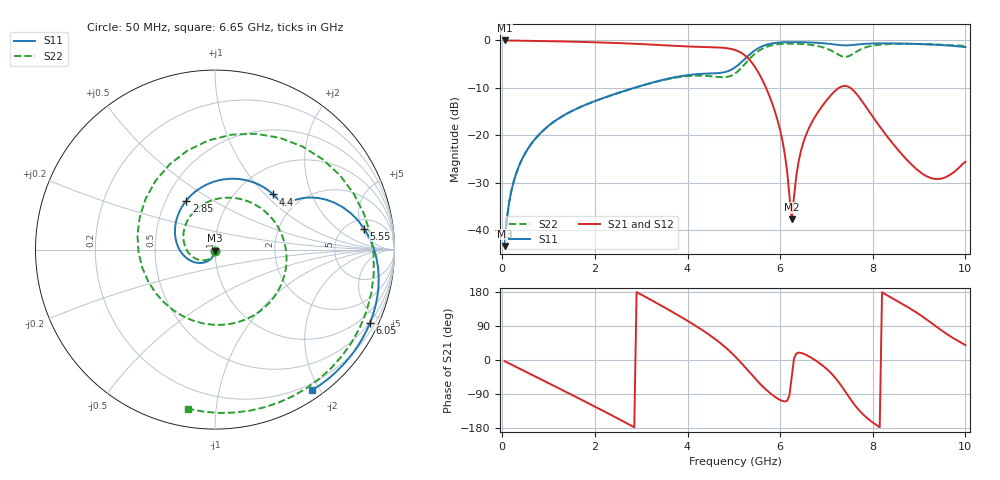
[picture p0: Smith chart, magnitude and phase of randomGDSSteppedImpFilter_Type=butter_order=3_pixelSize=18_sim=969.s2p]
! freq	dB(S11)	phase(S11)	dB(S12)	phase(S12)
!  dB(S21)	phase(S21)	dB(S22)	phase(S22)
!S-par simulation data
#  GHz  S  DB  R 50
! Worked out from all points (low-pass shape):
!   200 points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, 50 MHz to 10 GHz, reference 50 ohm
!   highest |S21| = -0.01 dB at 50 MHz (marker M1); lowest = -37.7 dB at 6.25 GHz (marker M2)
!   |S21| within 3 dB of the highest: start of sweep to 5.219 GHz
!   lowest |S11| = -43.3 dB at 50 MHz (marker M3), VSWR 1.01, Z = 50 - j0.683 ohm
!   |S11| at or under -10 dB: start of sweep to 2.846 GHz
!   |S22| runs from -43.3 to -0.7 dB; largest |S21 - S12| = 0
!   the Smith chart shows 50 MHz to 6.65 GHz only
!   S11 on the Smith chart (normalised r, x): 50 MHz: 1.00, -0.01; 2.85 GHz: 0.63, +0.39; 4.4 GHz: 1.45, +1.11; 5.55 GHz: 6.98, +5.55; 6.05 GHz: 0.47, -4.41; 6.65 GHz: 0.11, -1.89
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0.05  -43.31 -89.3  -0.01 -3.1  -0.01 -3.1  -43.35 -89.8
0.2  -31.50 -100.2  -0.02 -12.3  -0.02 -12.3  -31.51 -102.9
0.5  -23.67 -117.4  -0.06 -30.6  -0.06 -30.6  -23.69 -124.3
1.75  -13.76 176.4  -0.32 -107.4  -0.32 -107.4  -13.76 147.0
2.85  -9.99 120.3  -0.70 -177.5  -0.70 -177.5  -10.01 63.0
3.4  -8.47 91.6  -0.97 145.7  -0.97 145.7  -8.54 18.7
4.4  -7.00 43.5  -1.40 72.3  -1.40 72.3  -7.48 -78.5
5.05  -5.51 31.7  -2.10 6.6  -2.10 6.6  -6.81 156.7
5.3  -3.33 24.0  -3.69 -27.0  -3.69 -27.0  -4.30 93.4
5.55  -1.52 8.0  -7.10 -60.9  -7.10 -60.9  -2.12 39.9
6.05  -0.40 -25.3  -21.18 -108.2  -21.18 -108.2  -0.72 -34.2
6.25  -0.35 -36.3  -37.69 -44.0  -37.69 -44.0  -0.67 -56.6
6.4  -0.36 -43.9  -25.44 19.5  -25.44 19.5  -0.72 -72.4
6.65  -0.43 -55.5  -17.91 7.6  -17.91 7.6  -0.92 -99.6
6.7  -0.45 -57.7  -16.98 4.0  -16.98 4.0  -0.99 -105.5
7.15  -0.82 -75.8  -10.97 -41.5  -10.97 -41.5  -2.39 178.9
7.4  -1.05 -83.1  -9.58 -82.1  -9.58 -82.1  -3.48 96.8
7.7  -0.83 -91.6  -11.90 -131.9  -11.90 -131.9  -2.08 -1.8
8  -0.64 -102.4  -16.08 -165.0  -16.08 -165.0  -1.10 -53.9
8.35  -0.62 -115.1  -20.72 168.0  -20.72 168.0  -0.77 -88.5
9.2  -0.83 -147.2  -28.78 103.6  -28.78 103.6  -0.80 -142.3
10  -1.41 174.2  -25.57 39.3  -25.57 39.3  -1.15 171.8
